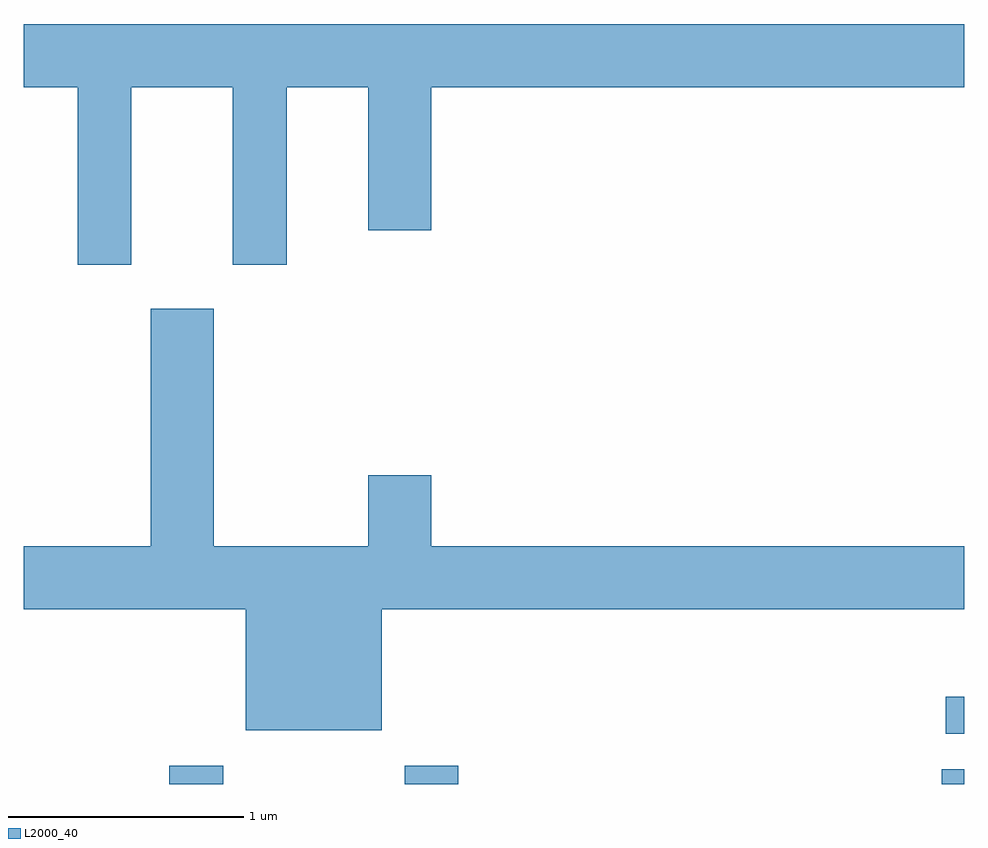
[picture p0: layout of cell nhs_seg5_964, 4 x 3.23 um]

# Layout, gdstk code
import gdstk
lib = gdstk.Library(unit=1e-6, precision=1e-09)
def R(c, l, rs):  # rectangles x0, y0, x1, y1
    for r in rs: c.add(gdstk.rectangle(r[:2], r[2:], *l))
def P(c, l, *ps):  # polygons
    for p in ps: c.add(gdstk.Polygon(p, *l))
L2000_40 = (2000, 40)

nhs_seg5_964 = lib.new_cell('nhs_seg5_964')
R(nhs_seg5_964, L2000_40, [(214.231,1436.072,214.459,1436.149), (215.231,1436.072,215.459,1436.149), (217.516,1436.072,217.611,1436.134), (217.533,1436.286,217.611,1436.444)])
P(nhs_seg5_964, L2000_40, [(214.069,1439.036),(214.501,1439.036),(214.501,1438.281),(214.729,1438.281),(214.729,1439.036),(215.076,1439.036),(215.076,1438.426),(215.344,1438.426),(215.344,1439.036),(217.611,1439.036),(217.611,1439.304),(213.611,1439.304),(213.611,1439.036),(213.841,1439.036),(213.841,1438.281),(214.069,1438.281)],
  [(215.134,1436.816),(217.611,1436.816),(217.611,1437.084),(215.344,1437.084),(215.344,1437.384),(215.076,1437.384),(215.076,1437.084),(214.419,1437.084),(214.419,1438.094),(214.151,1438.094),(214.151,1437.084),(213.611,1437.084),(213.611,1436.816),(214.556,1436.816),(214.556,1436.301),(215.134,1436.301)])

lib.write_gds('nhs_seg5_964.gds')
